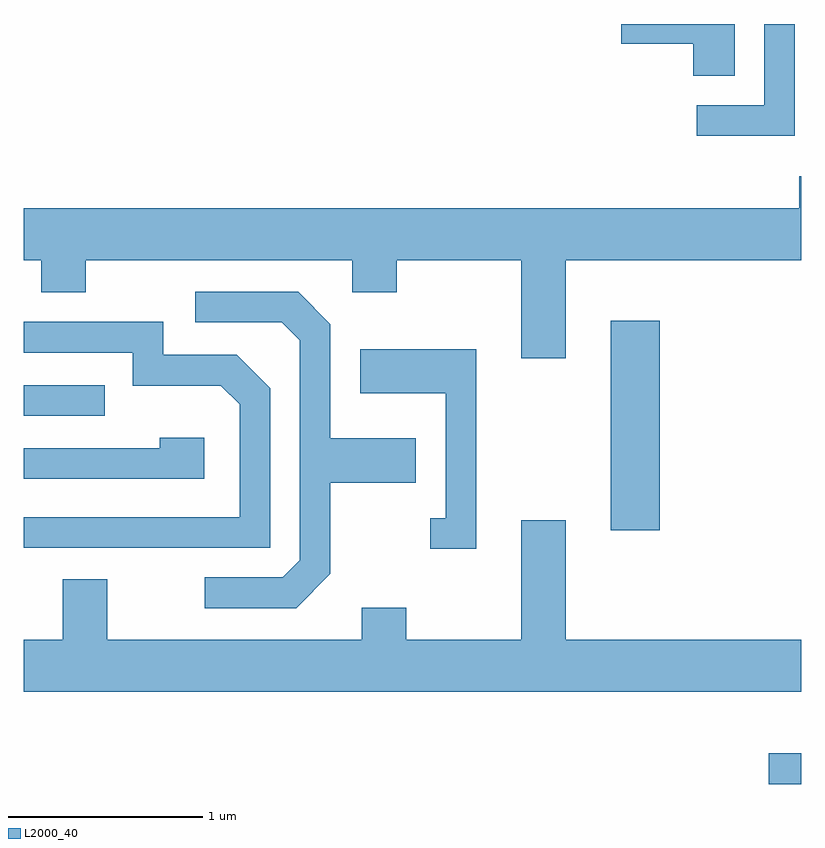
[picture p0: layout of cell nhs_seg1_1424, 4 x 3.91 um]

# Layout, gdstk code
import gdstk
lib = gdstk.Library(unit=1e-6, precision=1e-09)
def R(c, l, rs):  # rectangles x0, y0, x1, y1
    for r in rs: c.add(gdstk.rectangle(r[:2], r[2:], *l))
def P(c, l, *ps):  # polygons
    for p in ps: c.add(gdstk.Polygon(p, *l))
L2000_40 = (2000, 40)

nhs_seg1_1424 = lib.new_cell('nhs_seg1_1424')
R(nhs_seg1_1424, L2000_40, [(233.443,865.801,233.611,865.959), (232.631,867.106,232.884,868.184), (229.611,867.696,230.028,867.854)])
P(nhs_seg1_1424, L2000_40, [(233.579,869.712),(233.421,869.712),(233.421,869.294),(233.073,869.294),(233.073,869.136),(233.579,869.136)],
  [(233.269,869.712),(232.686,869.712),(232.686,869.611),(233.056,869.611),(233.056,869.446),(233.269,869.446)],
  [(229.611,868.496),(229.701,868.496),(229.701,868.331),(229.929,868.331),(229.929,868.496),(231.301,868.496),(231.301,868.331),(231.529,868.331),(231.529,868.496),(232.171,868.496),(232.171,867.991),(232.399,867.991),(232.399,868.496),(233.611,868.496),(233.611,868.929),(233.601,868.929),(233.601,868.764),(229.611,868.764)],
  [(231.189,866.884),(231.189,867.351),(231.629,867.351),(231.629,867.579),(231.189,867.579),(231.189,868.167),(231.022,868.334),(230.493,868.334),(230.493,868.176),(230.939,868.176),(231.031,868.084),(231.031,866.952),(230.944,866.864),(230.543,866.864),(230.543,866.706),(231.012,866.706)],
  [(230.879,867.837),(230.707,868.009),(230.329,868.009),(230.329,868.179),(229.611,868.179),(229.611,868.021),(230.171,868.021),(230.171,867.851),(230.624,867.851),(230.721,867.754),(230.721,867.174),(229.611,867.174),(229.611,867.016),(230.879,867.016)],
  [(231.939,868.039),(231.341,868.039),(231.341,867.811),(231.781,867.811),(231.781,867.169),(231.703,867.169),(231.703,867.011),(231.939,867.011)],
  [(230.539,867.584),(230.311,867.584),(230.311,867.529),(229.611,867.529),(229.611,867.371),(230.539,867.371)],
  [(233.611,866.544),(232.399,866.544),(232.399,867.159),(232.171,867.159),(232.171,866.544),(231.579,866.544),(231.579,866.709),(231.351,866.709),(231.351,866.544),(230.039,866.544),(230.039,866.854),(229.811,866.854),(229.811,866.544),(229.611,866.544),(229.611,866.276),(233.611,866.276)])

lib.write_gds('nhs_seg1_1424.gds')
